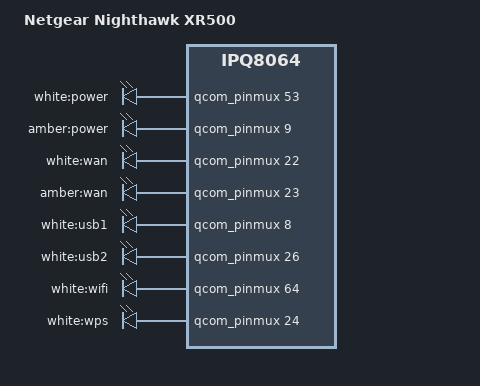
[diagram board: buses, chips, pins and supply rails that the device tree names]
// SPDX-License-Identifier: GPL-2.0-or-later OR MIT

#include "qcom-ipq8065-nighthawk.dtsi"

/ {
	model = "Netgear Nighthawk XR500";
	compatible = "netgear,xr500", "qcom,ipq8065", "qcom,ipq8064";

	aliases {
		led-boot = &power_white;
		led-failsafe = &power_amber;
		led-running = &power_white;
		led-upgrade = &power_amber;
	};

	leds {
		compatible = "gpio-leds";
		pinctrl-0 = <&led_pins>;
		pinctrl-names = "default";

		power_white: power_white {
			label = "white:power";
			gpios = <&qcom_pinmux 53 GPIO_ACTIVE_HIGH>;
			default-state = "keep";
		};

		power_amber: power_amber {
			label = "amber:power";
			gpios = <&qcom_pinmux 9 GPIO_ACTIVE_HIGH>;
		};

		wan_white {
			label = "white:wan";
			gpios = <&qcom_pinmux 22 GPIO_ACTIVE_HIGH>;
		};

		wan_amber {
			label = "amber:wan";
			gpios = <&qcom_pinmux 23 GPIO_ACTIVE_HIGH>;
		};

		usb1 {
			label = "white:usb1";
			gpios = <&qcom_pinmux 8 GPIO_ACTIVE_HIGH>;
		};

		usb2 {
			label = "white:usb2";
			gpios = <&qcom_pinmux 26 GPIO_ACTIVE_HIGH>;
		};

		wifi {
			label = "white:wifi";
			gpios = <&qcom_pinmux 64 GPIO_ACTIVE_HIGH>;
		};

		wps {
			label = "white:wps";
			gpios = <&qcom_pinmux 24 GPIO_ACTIVE_HIGH>;
		};
	};
};

&partitions {
	ubi@1880000 {
		label = "ubi";
		reg = <0x1880000 0xce00000>;
	};

	reserve@e680000 {
		label = "reserve";
		reg = <0xe680000 0x0780000>;
		read-only;
	};
};
